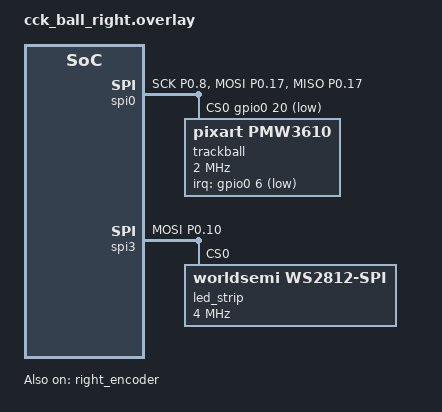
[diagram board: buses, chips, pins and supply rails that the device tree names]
/*
 * Copyright (c) 2020 ZMK Contributors
 *
 * SPDX-License-Identifier: MIT
 */
 
#include "cck_ball.dtsi"

&default_transform {
    col-offset = <6>;
}; 

&kscan0 {
	col-gpios
		= <&gpio1 15 GPIO_ACTIVE_HIGH>
        , <&gpio0 9 GPIO_ACTIVE_HIGH>
        , <&gpio0 10 GPIO_ACTIVE_HIGH>
        , <&gpio1 11 GPIO_ACTIVE_HIGH>
        , <&gpio1 4 GPIO_ACTIVE_HIGH>
        , <&gpio1 6 GPIO_ACTIVE_HIGH>
		;
};

// trackball
&pinctrl {
    spi0_default: spi0_default {
        group1 {
            psels = <NRF_PSEL(SPIM_SCK, 0, 8)>,
                <NRF_PSEL(SPIM_MOSI, 0, 17)>,
                <NRF_PSEL(SPIM_MISO, 0, 17)>;
        };
    };

    spi0_sleep: spi0_sleep {
        group1 {
            psels = <NRF_PSEL(SPIM_SCK, 0, 8)>,
                <NRF_PSEL(SPIM_MOSI, 0, 17)>,
                <NRF_PSEL(SPIM_MISO, 0, 17)>;
            low-power-enable;
        };
    };
};

&spi0 {
    status = "okay";
    compatible = "nordic,nrf-spim";
    pinctrl-0 = <&spi0_default>;
    pinctrl-1 = <&spi0_sleep>;
    pinctrl-names = "default", "sleep";
    cs-gpios = <&gpio0 20 GPIO_ACTIVE_LOW>;

    trackball: trackball@0 {
        status = "okay";
        compatible = "pixart,pmw3610";
        reg = <0>;
        spi-max-frequency = <2000000>;
        irq-gpios = <&gpio0 6 (GPIO_ACTIVE_LOW | GPIO_PULL_UP)>;
        scroll-layers = <3>;
        snipe-layers = <4>;
    };
};


//RGB bus
&pinctrl {
    spi3_default: spi3_default {
        group1 {
            psels = <NRF_PSEL(SPIM_MOSI, 0, 10)>;
        };
    };

    spi3_sleep: spi3_sleep {
        group1 {
            psels = <NRF_PSEL(SPIM_MOSI, 0, 10)>;
            low-power-enable;
        };
    };
};

&spi3 {
    compatible = "nordic,nrf-spim";
    status = "okay";

    pinctrl-0 = <&spi3_default>;
    pinctrl-1 = <&spi3_sleep>;
    pinctrl-names = "default", "sleep";

    led_strip: ws2812@0 {
        compatible = "worldsemi,ws2812-spi";

        /* SPI */
        reg = <0>; /* ignored, but necessary for SPI bindings */
        spi-max-frequency = <4000000>;

        /* WS2812 */
        chain-length = <27>; /* number of LEDs */
        spi-one-frame = <0x70>;
        spi-zero-frame = <0x40>;
        color-mapping = <LED_COLOR_ID_GREEN
                         LED_COLOR_ID_RED
                         LED_COLOR_ID_BLUE>;
    };
};



/ {
    // トラックボール入力リスナー - automouseレイヤー（Layer 1）を自動制御（通常時）
    trackball_listener {
        compatible = "zmk,input-listener";
        device = <&trackball>;
        input-processors = <&zip_temp_layer 1 500>;  // Layer 1を500ms有効化
    };

    // Layer 10 用の temp_layer プロセッサ（ゲーミング専用）
    gaming_zip_temp_layer: gaming_zip_temp_layer {
        compatible = "zmk,input-processor-temp-layer";
        #input-processor-cells = <2>;
        excluded-positions = <6 7 18 19 30 31 32 52 53>;
    };

    // ゲーミング専用トラックボールリスナー - Layer 8/9/10 でのみ発動
    // Layer 10（Gaming Auto Mouse）を有効化してマウスボタンをアクセス可能にする
    trackball_listener_gaming {
        compatible = "zmk,input-listener";
        device = <&trackball>;
        layers = <8 9 10>;  // Layer 10アクティブ中も継続してタイマーをリセット
        input-processors = <&gaming_zip_temp_layer 10 500>;
    };
};

// enable right encoder
&right_encoder {
	status = "okay";
};

